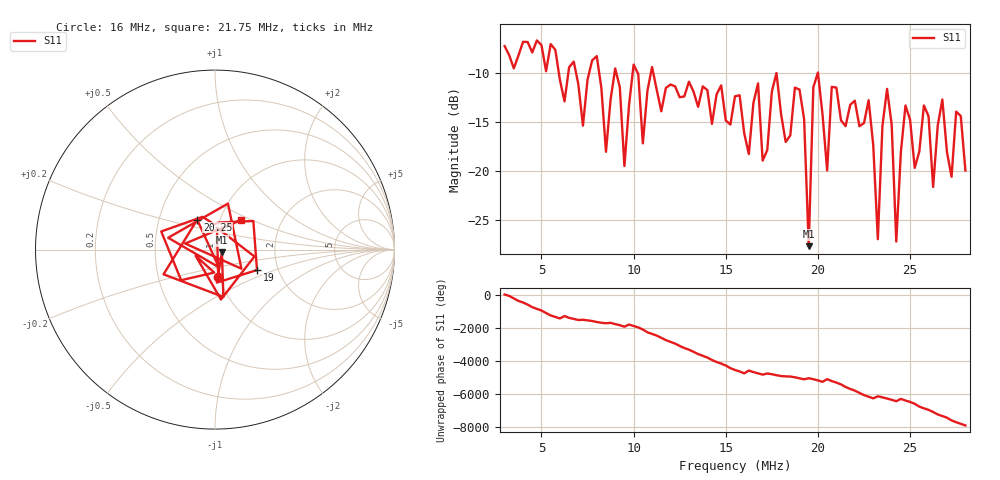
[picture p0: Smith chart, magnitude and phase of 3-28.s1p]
# HZ S RI R 50
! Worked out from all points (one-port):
!   101 points, 3 MHz to 28 MHz, reference 50 ohm
!   lowest |S11| = -27.6 dB at 19.5 MHz (marker M1), VSWR 1.09, Z = 54 - j1.66 ohm
!   |S11| at or under -10 dB: 6.876 MHz to 7.586 MHz (709.6 kHz wide, 9.81 % of centre); 11.07 MHz to 19.99 MHz (8.925 MHz wide, 57.5 % of centre); 20 MHz to end of sweep (the widest 3 of 7)
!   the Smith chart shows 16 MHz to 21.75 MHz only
!   S11 on the Smith chart (normalised r, x): 16 MHz: 0.99, -0.31; 19 MHz: 1.55, -0.38; 20.25 MHz: 0.78, +0.27; 21.75 MHz: 1.25, +0.43
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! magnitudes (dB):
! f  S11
! 3 MHz  -7.3
! 6.25 MHz  -12.9
! 8 MHz  -8.3
! 8.5 MHz  -18.0
! 9.25 MHz  -11.4
! 9.5 MHz  -19.5
! 10 MHz  -9.1
! 10.5 MHz  -17.2
! 11 MHz  -9.4
! 12.5 MHz  -12.5
! 15.5 MHz  -12.4
! 16 MHz  -16.1
! 18.75 MHz  -11.5
! 19 MHz  -11.7
! 19.5 MHz  -27.6
! 19.75 MHz  -11.4
! 20.25 MHz  -14.2
! 20.5 MHz  -19.9
! 20.75 MHz  -11.4
! 21.75 MHz  -13.2
! 22.75 MHz  -12.8
! 23.25 MHz  -26.9
! 23.75 MHz  -11.6
! 24.25 MHz  -27.2
! 24.75 MHz  -13.3
! 25 MHz  -14.8
! 27.5 MHz  -13.9
! 28 MHz  -19.9
